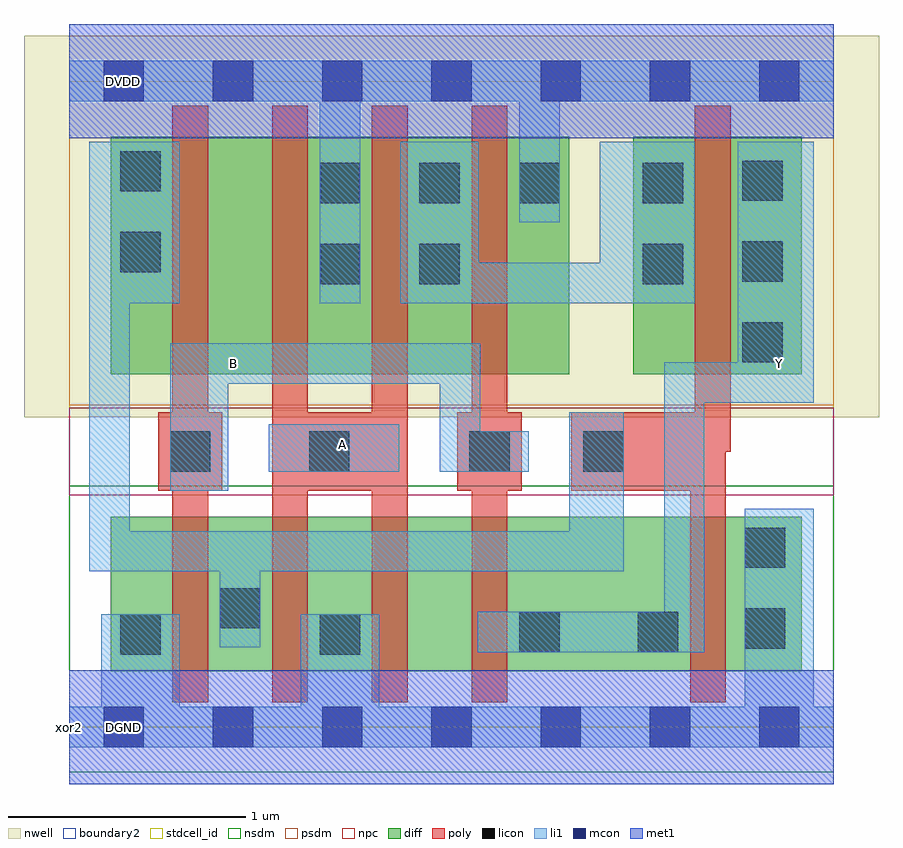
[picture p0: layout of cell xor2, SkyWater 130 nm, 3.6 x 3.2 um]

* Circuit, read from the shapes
.subckt xor2 A B DGND DVDD Y
XM1 n1 B DGND VSUBS sky130_fd_pr__nfet_01v8 w=0.65 l=0.15
XM2 DGND A n1 VSUBS sky130_fd_pr__nfet_01v8 w=0.65 l=0.15
XM3 n2 A DGND VSUBS sky130_fd_pr__nfet_01v8 w=0.65 l=0.15
XM4 Y B n2 VSUBS sky130_fd_pr__nfet_01v8 w=0.65 l=0.15
XM5 DGND n1 Y VSUBS sky130_fd_pr__nfet_01v8 w=0.65 l=0.15
XM6 n3 B n1 n4 sky130_fd_pr__pfet_01v8 w=1 l=0.15
XM7 DVDD A n3 n4 sky130_fd_pr__pfet_01v8 w=1 l=0.15
XM8 n5 A DVDD n4 sky130_fd_pr__pfet_01v8 w=1 l=0.15
XM9 DVDD B n5 n4 sky130_fd_pr__pfet_01v8 w=1 l=0.15
XM10 Y n1 n5 n4 sky130_fd_pr__pfet_01v8 w=1 l=0.15
.ends

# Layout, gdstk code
import gdstk
lib = gdstk.Library(unit=1e-6, precision=1e-09)
def R(c, l, rs):  # rectangles x0, y0, x1, y1
    for r in rs: c.add(gdstk.rectangle(r[:2], r[2:], *l))
def A(c, l, x, y, w, h, nx, ny, dx, dy):  # array of equal rectangles
    R(c, l, [(x+i*dx, y+j*dy, x+i*dx+w, y+j*dy+h) for i in range(nx) for j in range(ny)])
def P(c, l, *ps):  # polygons
    for p in ps: c.add(gdstk.Polygon(p, *l))
nwell = (64, 20)
diff = (65, 20)
poly = (66, 20)
licon = (66, 44)
li1 = (67, 20)
mcon = (67, 44)
met1 = (68, 20)
stdcell_id = (81, 4)
nsdm = (93, 44)
psdm = (94, 20)
npc = (95, 20)
boundary2 = (236, 0)

xor2 = lib.new_cell('xor2')
R(xor2, nwell, [(-0.19,1.305,3.41,2.91)])
R(xor2, diff, [(0.175,0.235,3.085,0.885), (0.175,1.485,2.105,2.485), (2.375,1.485,3.085,2.485)])
P(xor2, poly, [(0.435,0.105),(0.435,0.995),(0.375,0.995),(0.375,1.325),(0.435,1.325),(0.435,2.615),(0.585,2.615),(0.585,1.325),(0.645,1.325),(0.645,0.995),(0.585,0.995),(0.585,0.105)],
  [(0.855,0.105),(0.855,2.615),(1.005,2.615),(1.005,1.325),(1.275,1.325),(1.275,2.615),(1.425,2.615),(1.425,0.105),(1.275,0.105),(1.275,0.995),(1.005,0.995),(1.005,0.105)],
  [(1.695,0.105),(1.695,0.995),(1.635,0.995),(1.635,1.325),(1.695,1.325),(1.695,2.615),(1.845,2.615),(1.845,1.325),(1.905,1.325),(1.905,0.995),(1.845,0.995),(1.845,0.105)],
  [(2.615,0.105),(2.615,0.995),(2.115,0.995),(2.115,1.325),(2.635,1.325),(2.635,2.615),(2.785,2.615),(2.785,1.16),(2.765,1.16),(2.765,0.105)])
A(xor2, licon, 2.835, 1.535, 0.17, 0.17, 1, 3, 0, 0.34)
A(xor2, licon, 1.055, 2.205, 0.17, 0.17, 3, 1, 0.42, 0)
R(xor2, licon, [(0.215,0.305,0.385,0.475), (1.055,0.305,1.225,0.475), (1.895,0.315,2.065,0.485), (2.395,0.315,2.565,0.485), (2.845,0.33,3.015,0.5), (0.635,0.415,0.805,0.585), (2.845,0.67,3.015,0.84), (0.425,1.075,0.595,1.245), (1.01,1.075,1.18,1.245), (1.685,1.075,1.855,1.245), (2.165,1.075,2.335,1.245), (1.055,1.865,1.225,2.035), (1.475,1.865,1.645,2.035), (2.415,1.865,2.585,2.035), (0.215,1.915,0.385,2.085), (2.415,2.205,2.585,2.375), (0.215,2.255,0.385,2.425)])
R(xor2, li1, [(0.84,1.075,1.39,1.275)])
P(xor2, li1, [(0.425,0.995),(0.425,1.615),(1.73,1.615),(1.73,1.245),(1.935,1.245),(1.935,1.075),(1.56,1.075),(1.56,1.445),(0.67,1.445),(0.67,0.995)],
  [(0.635,0.335),(0.635,0.655),(0.085,0.655),(0.085,2.465),(0.465,2.465),(0.465,1.785),(0.255,1.785),(0.255,0.825),(2.105,0.825),(2.105,1.325),(2.335,1.325),(2.335,0.655),(0.805,0.655),(0.805,0.335)],
  [(1.395,1.785),(1.395,2.465),(1.725,2.465),(1.725,1.955),(2.235,1.955),(2.235,2.465),(2.635,2.465),(2.635,1.785)],
  [(1.72,0.315),(1.72,0.485),(2.505,0.485),(2.505,1.535),(2.815,1.535),(2.815,2.465),(3.135,2.465),(3.135,1.365),(2.675,1.365),(2.675,0.315)],
  [(1.055,1.785),(1.055,2.635),(0,2.635),(0,2.805),(3.22,2.805),(3.22,2.635),(2.065,2.635),(2.065,2.125),(1.895,2.125),(1.895,2.635),(1.225,2.635),(1.225,1.785)],
  [(0,-0.085),(0,0.085),(0.135,0.085),(0.135,0.475),(0.465,0.475),(0.465,0.085),(0.975,0.085),(0.975,0.475),(1.305,0.475),(1.305,0.085),(2.845,0.085),(2.845,0.92),(3.135,0.92),(3.135,0.085),(3.22,0.085),(3.22,-0.085)])
A(xor2, mcon, 0.145, -0.085, 0.17, 0.17, 7, 2, 0.46, 2.72)
R(xor2, stdcell_id, [(0,0,3.22,2.72)])
R(xor2, nsdm, [(0,-0.19,3.22,1.015)])
R(xor2, psdm, [(0,1.355,3.22,2.91)])
R(xor2, npc, [(0,0.975,3.22,1.345)])
R(xor2, boundary2, [(0,0,3.22,2.72)])
xor2.add(gdstk.FlexPath([(0,0),(3.22,0)], 0.48, ends="flush", simple_path=True, layer=68, datatype=20))  # met1
xor2.add(gdstk.FlexPath([(0,2.72),(3.22,2.72)], 0.48, ends="flush", simple_path=True, layer=68, datatype=20))  # met1
xor2.add(gdstk.Label('xor2', (0,0), layer=83, texttype=44))
xor2.add(gdstk.Label('DVDD', (0.23,2.72), layer=68, texttype=5))
xor2.add(gdstk.Label('DGND', (0.23,0), layer=68, texttype=5))
xor2.add(gdstk.Label('Y', (2.99,1.53), layer=67, texttype=5))
xor2.add(gdstk.Label('B', (0.69,1.53), layer=67, texttype=5))
xor2.add(gdstk.Label('A', (1.15,1.19), layer=67, texttype=5))

lib.write_gds('xor2.gds')
